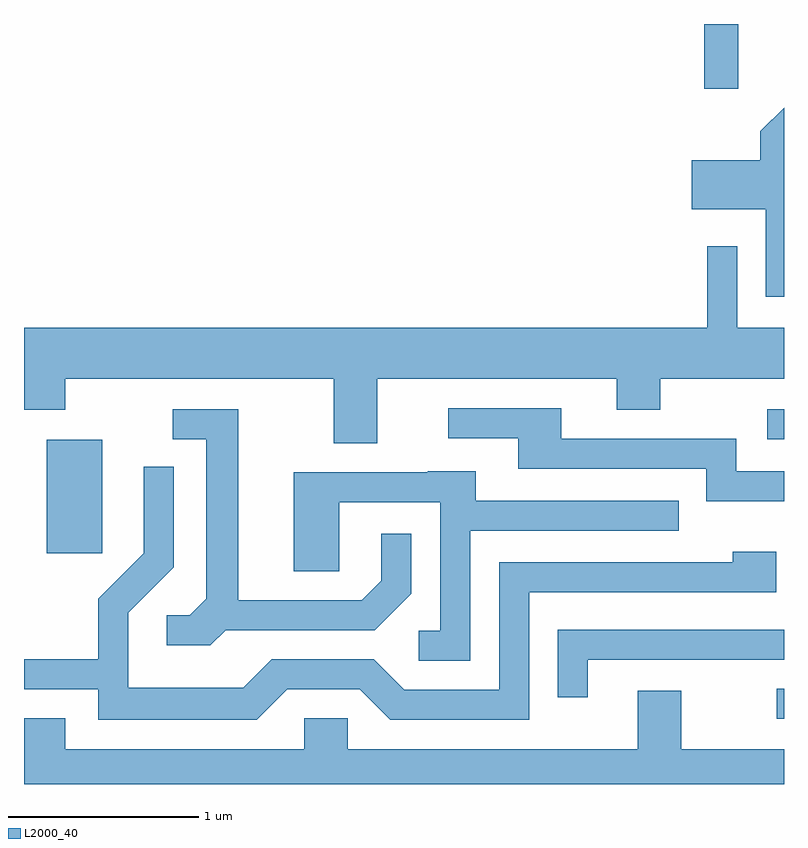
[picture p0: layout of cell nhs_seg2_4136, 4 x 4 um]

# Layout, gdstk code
import gdstk
lib = gdstk.Library(unit=1e-6, precision=1e-09)
def R(c, l, rs):  # rectangles x0, y0, x1, y1
    for r in rs: c.add(gdstk.rectangle(r[:2], r[2:], *l))
def P(c, l, *ps):  # polygons
    for p in ps: c.add(gdstk.Polygon(p, *l))
L2000_40 = (2000, 40)

nhs_seg2_4136 = lib.new_cell('nhs_seg2_4136')
R(nhs_seg2_4136, L2000_40, [(311.573,982.146,311.611,982.304), (307.731,983.016,308.024,983.614), (311.523,983.616,311.611,983.774), (311.191,985.461,311.369,985.802)])
P(nhs_seg2_4136, L2000_40, [(311.611,985.362),(311.486,985.237),(311.486,985.084),(311.126,985.084),(311.126,984.826),(311.516,984.826),(311.516,984.366),(311.611,984.366)],
  [(307.611,983.771),(307.829,983.771),(307.829,983.936),(309.241,983.936),(309.241,983.596),(309.469,983.596),(309.469,983.936),(310.731,983.936),(310.731,983.771),(310.959,983.771),(310.959,983.936),(311.611,983.936),(311.611,984.204),(311.364,984.204),(311.364,984.633),(311.206,984.633),(311.206,984.204),(307.611,984.204)],
  [(311.611,983.449),(311.359,983.449),(311.359,983.619),(310.439,983.619),(310.439,983.779),(309.843,983.779),(309.843,983.621),(310.211,983.621),(310.211,983.461),(311.201,983.461),(311.201,983.291),(311.611,983.291)],
  [(308.672,982.611),(309.457,982.611),(309.649,982.804),(309.649,983.118),(309.491,983.118),(309.491,982.872),(309.389,982.769),(308.739,982.769),(308.739,983.774),(308.393,983.774),(308.393,983.616),(308.571,983.616),(308.571,982.777),(308.484,982.689),(308.363,982.689),(308.363,982.531),(308.592,982.531)],
  [(308.997,982.301),(309.379,982.301),(309.539,982.141),(310.269,982.141),(310.269,982.811),(311.569,982.811),(311.569,983.024),(311.341,983.024),(311.341,982.969),(310.111,982.969),(310.111,982.299),(309.612,982.299),(309.452,982.459),(308.914,982.459),(308.764,982.309),(308.159,982.309),(308.159,982.704),(308.399,982.944),(308.399,983.473),(308.241,983.473),(308.241,983.017),(308.001,982.777),(308.001,982.459),(307.611,982.459),(307.611,982.301),(308.001,982.301),(308.001,982.141),(308.837,982.141)],
  [(309.959,983.136),(311.058,983.136),(311.058,983.294),(309.989,983.294),(309.989,983.449),(309.735,983.449),(309.735,983.444),(309.031,983.444),(309.031,982.921),(309.269,982.921),(309.269,983.286),(309.801,983.286),(309.801,982.609),(309.688,982.609),(309.688,982.451),(309.959,982.451)],
  [(310.579,982.456),(311.611,982.456),(311.611,982.614),(310.421,982.614),(310.421,982.258),(310.579,982.258)],
  [(311.611,981.984),(311.069,981.984),(311.069,982.294),(310.841,982.294),(310.841,981.984),(309.314,981.984),(309.314,982.149),(309.086,982.149),(309.086,981.984),(307.829,981.984),(307.829,982.149),(307.611,982.149),(307.611,981.802),(311.611,981.802)])

lib.write_gds('nhs_seg2_4136.gds')
